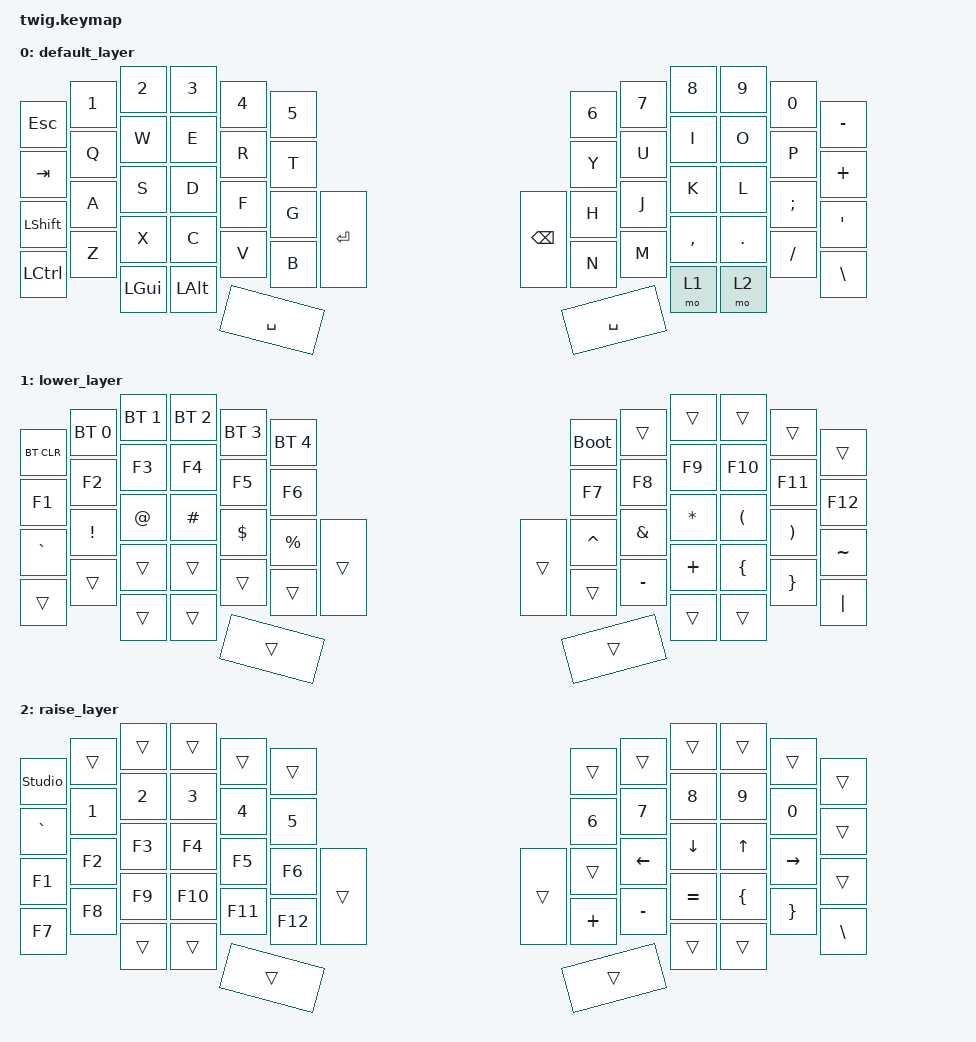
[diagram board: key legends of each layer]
/*
 * Copyright (c) 2020 The ZMK Contributors
 *
 * SPDX-License-Identifier: MIT
 */

#include <behaviors.dtsi>
#include <dt-bindings/zmk/keys.h>
#include <dt-bindings/zmk/bt.h>



/ {
    keymap {
        compatible = "zmk,keymap";

        default_layer {
// ------------------------------------------------------------------------------------------------------------
// |  ESC  |  1  |  2  |  3   |  4   |  5   |   |  6   |  7    |  8    |  9   |   0   |   -   |
// |  TAB  |  Q  |  W  |  E   |  R   |  T   |   |  Y   |  U    |  I    |  O   |   P   |   +   |
// | SHIFT |  A  |  S  |  D   |  F   |  G   |   |  H   |  J    |  K    |  L   |   ;   |   '   |
// |  CTRL |  Z  |  X  |  C   |  V   |  B   |   |  N   |  M    |  ,    |  .   |   /   |   \   |
//               | SUP | ALT  | SPACE| BSPC |   | ENTER| SPACE | RAISE | LOWER|
            bindings = <
&kp ESC   &kp N1 &kp N2   &kp N3   &kp N4    &kp N5      &kp N6    &kp N7    &kp N8    &kp N9  &kp N0   &kp MINUS
&kp TAB   &kp Q  &kp W    &kp E    &kp R     &kp T       &kp Y     &kp U     &kp I     &kp O   &kp P    &kp PLUS
&kp LSHFT &kp A  &kp S    &kp D    &kp F     &kp G       &kp H     &kp J     &kp K     &kp L   &kp SEMI &kp SQT
&kp LCTRL &kp Z  &kp X    &kp C    &kp V     &kp B       &kp N     &kp M     &kp COMMA &kp DOT &kp FSLH &kp BSLH
                 &kp LGUI &kp LALT &kp SPACE &kp ENTER   &kp BSPC  &kp SPACE &mo 1     &mo 2
            >;
        };

        lower_layer {
// ------------------------------------------------------------------------------------------------------------
// | BTCLR | BT1 | BT2 |  BT3 |  BT4 |  BT5 |   |BTLOAD|       |       |      |       |       |
// |  F1   |  F2 |  F3 |  F4  |  F5  |  F6  |   |  F7  |  F8   |  F9   |  F10 |  F11  |  F12  |
// |   `   |  !  |  @  |  #   |  $   |  %   |   |  ^   |  &    |  *    |  (   |   )   |   ~   |
// |       |     |     |      |      |      |   |      |  _    |  +    |  {   |   }   |  "|"  |
//               |     |      |      |      |   |      |       |       |      |
            bindings = <
&bt BT_CLR &bt BT_SEL 0 &bt BT_SEL 1 &bt BT_SEL 2 &bt BT_SEL 3 &bt BT_SEL 4   &bootloader    &trans    &trans    &trans    &trans    &trans
&kp F1     &kp F2       &kp F3       &kp F4       &kp F5       &kp F6         &kp F7    &kp F8    &kp F9    &kp F10   &kp F11   &kp F12
&kp GRAVE  &kp EXCL     &kp AT       &kp HASH     &kp DOLLAR   &kp PRCNT      &kp CARET &kp AMPS  &kp ASTRK &kp LPAR  &kp RPAR  &kp TILDE
&trans     &trans       &trans       &trans       &trans       &trans         &trans    &kp MINUS &kp PLUS  &kp LBRC  &kp RBRC  &kp PIPE
                        &trans       &trans       &trans       &trans         &trans    &trans    &trans    &trans    
            >;
        };

        raise_layer {
// ------------------------------------------------------------------------------------------------------------
// | STUDIO|     |     |      |      |      |   |      |       |       |      |       |       |
// |   `   |  1  |  2  |  3   |  4   |  5   |   |  6   |   7   |   8   |  9   |   0   |       |
// |   F1  |  F2 |  F3 |  F4  |  F5  |  F6  |   |      |   <-  |   v   |  ^   |  ->   |       |
// |   F7  |  F8 |  F9 |  F10 |  F11 |  F12 |   |  +   |   -   |   =   |  [   |   ]   |   \   |
//               |     |      |      |      |   |      |       |       |      |
            bindings = <
&studio_unlock   &trans &trans &trans  &trans  &trans    &trans   &trans    &trans    &trans   &trans    &trans
&kp GRAVE &kp N1 &kp N2 &kp N3  &kp N4  &kp N5    &kp N6   &kp N7    &kp N8    &kp N9   &kp N0    &trans
&kp F1    &kp F2 &kp F3 &kp F4  &kp F5  &kp F6    &trans   &kp LEFT  &kp DOWN  &kp UP   &kp RIGHT &trans
&kp F7    &kp F8 &kp F9 &kp F10 &kp F11 &kp F12   &kp PLUS &kp MINUS &kp EQUAL &kp LBRC &kp RBRC  &kp BSLH
                 &trans &trans  &trans  &trans    &trans   &trans    &trans    &trans
            >;
        };
    };
};
